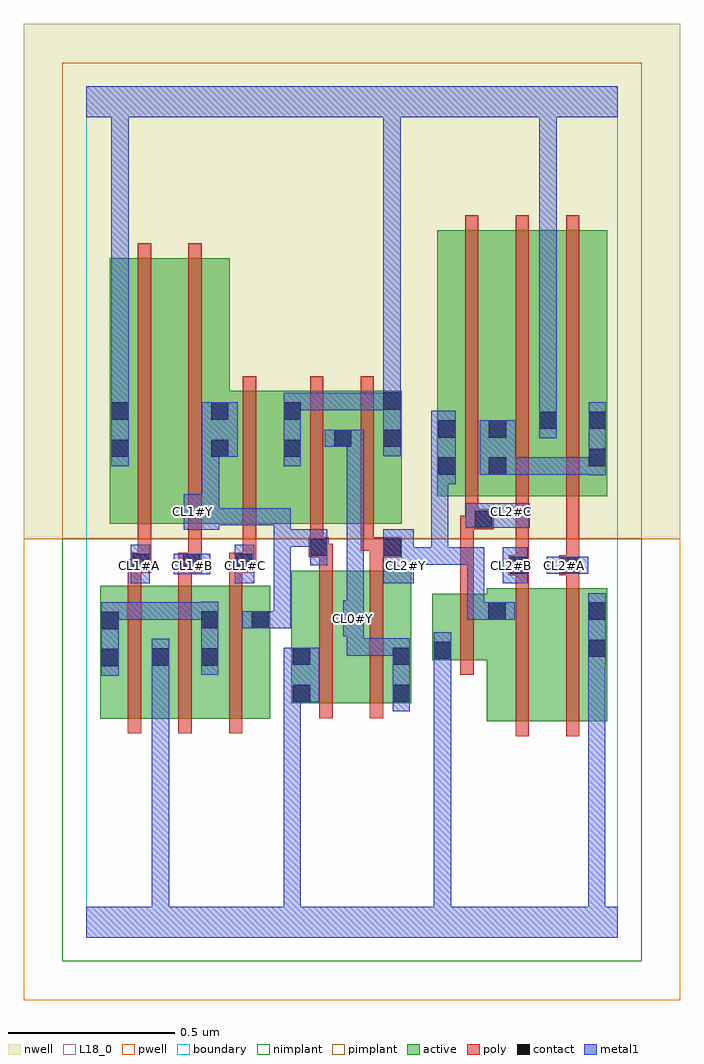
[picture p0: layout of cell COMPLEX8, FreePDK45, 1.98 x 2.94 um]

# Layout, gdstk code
import gdstk
lib = gdstk.Library(unit=1e-6, precision=1e-09)
def R(c, l, rs):  # rectangles x0, y0, x1, y1
    for r in rs: c.add(gdstk.rectangle(r[:2], r[2:], *l))
def A(c, l, x, y, w, h, nx, ny, dx, dy):  # array of equal rectangles
    R(c, l, [(x+i*dx, y+j*dy, x+i*dx+w, y+j*dy+h) for i in range(nx) for j in range(ny)])
active = (1, 0)
pwell = (2, 0)
nwell = (3, 0)
nimplant = (4, 0)
pimplant = (5, 0)
poly = (9, 0)
contact = (10, 0)
metal1 = (11, 0)
L18_0 = (18, 0)
boundary = (235, 0)

complex8 = lib.new_cell('COMPLEX8')
R(complex8, active, [(1.206,0.65,1.388,1.05), (1.206,0.65,1.266,1.012), (1.388,0.65,1.568,1.05), (1.508,0.65,1.568,1.05), (0.042,0.658,0.254,1.058), (0.194,0.658,0.402,1.058), (0.342,0.658,0.554,1.058), (0.494,0.658,0.554,1.058), (0.618,0.704,0.678,1.104), (0.618,0.704,0.798,1.104), (0.798,0.704,0.978,1.104), (0.918,0.704,0.978,1.104), (0.042,0.756,0.102,1.058), (0.194,0.756,0.254,0.874), (0.342,0.756,0.402,0.986), (1.042,0.834,1.266,1.034), (1.042,0.834,1.102,1.034), (0.072,1.244,0.132,2.044), (0.072,1.244,0.252,2.044), (0.252,1.244,0.432,2.044), (0.372,1.244,0.432,2.044), (0.372,1.244,0.65,1.644), (0.59,1.244,0.65,1.644), (0.59,1.244,0.802,1.644), (0.742,1.244,0.802,1.644), (0.742,1.244,0.95,1.644), (0.89,1.244,0.95,1.644), (1.056,1.328,1.268,2.128), (1.056,1.328,1.116,2.044), (1.208,1.328,1.268,2.128), (1.208,1.328,1.42,2.128), (1.36,1.328,1.42,2.128), (1.36,1.328,1.568,2.128), (1.508,1.328,1.568,2.128)])
R(complex8, pwell, [(-0.188,-0.188,1.788,1.2)])
R(complex8, nwell, [(-0.188,1.2,1.788,2.748)])
R(complex8, nimplant, [(-0.072,-0.072,1.672,1.2)])
R(complex8, pimplant, [(-0.072,1.2,1.672,2.632)])
A(complex8, poly, 0.126, 0.614, 0.04, 0.488, 3, 1, 0.152, 0)
A(complex8, poly, 0.126, 1.062, 0.04, 0.076, 3, 1, 0.152, 0)
A(complex8, poly, 1.14, 1.284, 0.04, 0.888, 3, 1, 0.152, 0)
R(complex8, poly, [(1.292,0.606,1.332,1.094), (1.444,0.606,1.484,1.094), (0.702,0.66,0.742,1.148), (0.854,0.66,0.894,1.148), (1.126,0.79,1.166,1.078), (1.126,1.038,1.166,1.268), (1.292,1.054,1.332,1.13), (1.444,1.054,1.484,1.13), (1.272,1.09,1.332,1.15), (1.424,1.09,1.484,1.15), (0.126,1.098,0.176,1.138), (0.136,1.098,0.176,1.138), (0.136,1.098,0.196,1.158), (0.278,1.098,0.348,1.158), (0.43,1.098,0.504,1.158), (0.702,1.108,0.742,1.184), (0.854,1.108,0.894,1.184), (1.292,1.11,1.332,1.324), (1.292,1.11,1.332,1.15), (1.292,1.11,1.332,1.15), (1.444,1.11,1.484,1.324), (1.444,1.11,1.484,1.15), (1.444,1.11,1.484,1.15), (0.156,1.118,0.196,1.24), (0.308,1.118,0.348,1.158), (0.308,1.118,0.348,1.158), (0.308,1.118,0.348,1.24), (0.464,1.118,0.504,1.158), (0.464,1.118,0.512,1.158), (0.472,1.118,0.512,1.24), (0.67,1.144,0.73,1.204), (0.69,1.144,0.73,1.184), (0.69,1.144,0.742,1.184), (0.854,1.144,0.95,1.204), (0.674,1.164,0.714,1.24), (0.826,1.164,0.866,1.24), (0.826,1.164,0.894,1.204), (0.854,1.164,0.894,1.204), (0.156,1.2,0.196,2.088), (0.308,1.2,0.348,2.088), (0.472,1.2,0.512,1.688), (0.674,1.2,0.714,1.688), (0.826,1.2,0.866,1.688), (1.126,1.228,1.18,1.268), (1.14,1.228,1.18,1.268), (1.14,1.228,1.226,1.288), (1.14,1.248,1.18,1.324)])
R(complex8, contact, [(0.622,0.708,0.674,0.76), (0.922,0.708,0.974,0.76), (0.046,0.816,0.098,0.868), (0.198,0.818,0.25,0.87), (0.346,0.818,0.398,0.87), (0.622,0.82,0.674,0.872), (0.922,0.82,0.974,0.872), (1.046,0.838,1.098,0.89), (1.512,0.844,1.564,0.896), (0.046,0.928,0.098,0.98), (0.346,0.93,0.398,0.982), (0.498,0.93,0.55,0.982), (1.21,0.956,1.262,1.008), (1.512,0.956,1.564,1.008), (1.276,1.094,1.328,1.146), (1.428,1.094,1.48,1.146), (0.14,1.102,0.192,1.154), (0.292,1.102,0.344,1.154), (0.448,1.102,0.5,1.154), (0.674,1.148,0.726,1.2), (0.894,1.148,0.946,1.2), (1.17,1.232,1.222,1.284), (1.06,1.392,1.112,1.444), (1.212,1.392,1.264,1.444), (1.512,1.418,1.564,1.47), (0.076,1.446,0.128,1.498), (0.376,1.446,0.428,1.498), (0.594,1.446,0.646,1.498), (0.746,1.476,0.798,1.528), (0.894,1.476,0.946,1.528), (1.06,1.504,1.112,1.556), (1.212,1.504,1.264,1.556), (1.364,1.53,1.416,1.582), (1.512,1.53,1.564,1.582), (0.076,1.558,0.128,1.61), (0.376,1.558,0.428,1.61), (0.594,1.558,0.646,1.61), (0.894,1.588,0.946,1.64)])
R(complex8, metal1, [(0,0,1.6,0.092), (0.198,0.04,0.25,0.092), (0.198,0.04,0.25,0.092), (0.198,0.04,0.25,0.092), (0.198,0.04,0.25,0.092), (0.198,0.04,0.25,0.092), (0.198,0.04,0.25,0.092), (0.198,0.04,0.25,0.092), (0.198,0.04,0.25,0.092), (0.198,0.04,0.25,0.092), (0.198,0.04,0.25,0.092), (0.198,0.04,0.25,0.842), (0.594,0.04,0.646,0.092), (0.594,0.04,0.646,0.092), (0.594,0.04,0.646,0.092), (0.594,0.04,0.646,0.092), (0.594,0.04,0.646,0.092), (0.594,0.04,0.646,0.092), (0.594,0.04,0.646,0.092), (0.594,0.04,0.646,0.092), (0.594,0.04,0.646,0.092), (0.594,0.04,0.646,0.092), (0.594,0.04,0.646,0.76), (1.046,0.04,1.098,0.092), (1.046,0.04,1.098,0.092), (1.046,0.04,1.098,0.092), (1.046,0.04,1.098,0.092), (1.046,0.04,1.098,0.092), (1.046,0.04,1.098,0.092), (1.046,0.04,1.098,0.092), (1.046,0.04,1.098,0.092), (1.046,0.04,1.098,0.092), (1.046,0.04,1.098,0.092), (1.046,0.04,1.098,0.092), (1.046,0.04,1.098,0.092), (1.046,0.04,1.098,0.092), (1.046,0.04,1.098,0.092), (1.046,0.04,1.098,0.092), (1.046,0.04,1.098,0.092), (1.046,0.04,1.098,0.862), (1.51,0.04,1.562,0.092), (1.51,0.04,1.562,0.092), (1.51,0.04,1.562,0.092), (1.51,0.04,1.562,0.092), (1.51,0.04,1.562,0.868), (0.922,0.68,0.974,0.9), (0.594,0.708,0.646,0.76), (0.594,0.708,0.646,0.76), (0.594,0.708,0.702,0.872), (0.046,0.788,0.098,1.008), (0.198,0.79,0.25,0.842), (0.198,0.79,0.25,0.842), (0.198,0.79,0.25,0.898), (0.346,0.79,0.398,1.01), (1.046,0.81,1.098,0.918), (1.51,0.816,1.562,0.868), (1.51,0.816,1.562,0.868), (1.51,0.816,1.562,0.868), (1.51,0.816,1.562,0.868), (1.51,0.816,1.562,0.868), (1.51,0.816,1.562,0.868), (1.51,0.816,1.562,0.868), (1.51,0.816,1.562,0.868), (1.51,0.816,1.564,1.036), (0.784,0.848,0.836,0.9), (0.784,0.848,0.974,0.9), (0.784,0.848,0.836,0.958), (0.922,0.848,0.974,0.9), (0.922,0.848,0.974,0.9), (0.774,0.906,0.836,1.014), (0.47,0.93,0.616,0.982), (0.564,0.93,0.616,1.228), (0.046,0.956,0.098,1.008), (0.046,0.956,0.098,1.008), (0.046,0.956,0.208,1.008), (0.156,0.956,0.208,1.008), (0.156,0.956,0.208,1.008), (0.156,0.956,0.208,1.008), (0.156,0.956,0.398,1.008), (1.146,0.956,1.198,1.174), (1.146,0.956,1.29,1.008), (0.784,0.962,0.836,1.528), (0.134,1.066,0.192,1.182), (0.448,1.066,0.506,1.182), (0.894,1.066,0.986,1.228), (1.254,1.066,1.328,1.174), (0.264,1.092,0.374,1.154), (1.386,1.094,1.51,1.146), (0.674,1.12,0.726,1.228), (0.934,1.122,0.986,1.174), (0.934,1.122,0.986,1.174), (0.934,1.122,1.09,1.174), (1.038,1.122,1.09,1.174), (1.038,1.122,1.09,1.174), (1.038,1.122,1.09,1.174), (1.038,1.122,1.182,1.174), (1.038,1.122,1.09,1.416), (1.13,1.122,1.182,1.174), (1.13,1.122,1.198,1.174), (1.146,1.122,1.198,1.174), (0.564,1.176,0.616,1.228), (0.564,1.176,0.616,1.228), (0.564,1.176,0.616,1.228), (0.564,1.176,0.616,1.228), (0.564,1.176,0.726,1.228), (0.564,1.176,0.616,1.292), (0.294,1.226,0.4,1.334), (1.142,1.232,1.334,1.306), (0.348,1.24,0.4,1.292), (0.348,1.24,0.4,1.292), (0.348,1.24,0.616,1.292), (0.348,1.282,0.4,1.498), (1.038,1.364,1.112,1.584), (1.512,1.39,1.564,1.61), (1.184,1.392,1.292,1.556), (1.24,1.392,1.292,1.444), (1.24,1.392,1.292,1.444), (1.24,1.392,1.452,1.444), (1.4,1.392,1.452,1.444), (1.4,1.392,1.564,1.444), (1.512,1.392,1.564,1.444), (1.512,1.392,1.564,1.444), (0.076,1.418,0.128,1.638), (0.594,1.418,0.646,1.638), (0.348,1.446,0.456,1.61), (0.894,1.448,0.946,1.668), (0.718,1.476,0.836,1.528), (0.784,1.476,0.836,1.528), (0.784,1.476,0.836,1.528), (1.364,1.502,1.416,1.61), (1.364,1.558,1.416,1.61), (1.364,1.558,1.416,1.61), (1.364,1.558,1.416,1.61), (1.364,1.558,1.416,1.61), (1.364,1.558,1.416,1.61), (1.364,1.558,1.416,1.61), (1.364,1.558,1.416,2.52), (0.076,1.586,0.128,1.638), (0.076,1.586,0.128,1.638), (0.076,1.586,0.128,1.638), (0.076,1.586,0.128,1.638), (0.076,1.586,0.128,1.638), (0.076,1.586,0.128,1.638), (0.076,1.586,0.128,2.52), (0.594,1.586,0.756,1.638), (0.704,1.586,0.756,1.638), (0.704,1.586,0.756,1.638), (0.704,1.586,0.756,1.638), (0.704,1.586,0.946,1.638), (0.894,1.586,0.946,1.638), (0.894,1.586,0.946,1.638), (0.894,1.616,0.946,1.668), (0.894,1.616,0.946,1.694), (0.894,1.642,0.946,1.694), (0.894,1.642,0.946,1.694), (0.894,1.642,0.946,1.694), (0.894,1.642,0.946,1.694), (0.894,1.642,0.946,1.694), (0.894,1.642,0.946,1.694), (0.894,1.642,0.946,1.694), (0.894,1.642,0.946,1.694), (0.894,1.642,0.946,2.52), (0,2.468,1.6,2.56), (0.076,2.468,0.128,2.52), (0.076,2.468,0.128,2.52), (0.894,2.468,0.946,2.52), (0.894,2.468,0.946,2.52), (0.894,2.468,0.946,2.52), (0.894,2.468,0.946,2.52), (0.894,2.468,0.946,2.52), (0.894,2.468,0.946,2.52), (1.364,2.468,1.416,2.52), (1.364,2.468,1.416,2.52)])
A(complex8, L18_0, 0.134, 1.094, 0.052, 0.052, 3, 1, 0.16, 0)
R(complex8, L18_0, [(0,0,1.6,0.092), (0.198,0.04,0.25,0.092), (0.198,0.04,0.25,0.092), (0.198,0.04,0.25,0.092), (0.198,0.04,0.25,0.092), (0.198,0.04,0.25,0.092), (0.198,0.04,0.25,0.092), (0.198,0.04,0.25,0.092), (0.198,0.04,0.25,0.092), (0.198,0.04,0.25,0.092), (0.198,0.04,0.25,0.092), (0.198,0.04,0.25,0.842), (0.594,0.04,0.646,0.092), (0.594,0.04,0.646,0.092), (0.594,0.04,0.646,0.092), (0.594,0.04,0.646,0.092), (0.594,0.04,0.646,0.092), (0.594,0.04,0.646,0.092), (0.594,0.04,0.646,0.092), (0.594,0.04,0.646,0.092), (0.594,0.04,0.646,0.092), (0.594,0.04,0.646,0.092), (0.594,0.04,0.646,0.76), (1.046,0.04,1.098,0.092), (1.046,0.04,1.098,0.092), (1.046,0.04,1.098,0.092), (1.046,0.04,1.098,0.092), (1.046,0.04,1.098,0.092), (1.046,0.04,1.098,0.092), (1.046,0.04,1.098,0.092), (1.046,0.04,1.098,0.092), (1.046,0.04,1.098,0.092), (1.046,0.04,1.098,0.092), (1.046,0.04,1.098,0.092), (1.046,0.04,1.098,0.092), (1.046,0.04,1.098,0.092), (1.046,0.04,1.098,0.092), (1.046,0.04,1.098,0.092), (1.046,0.04,1.098,0.092), (1.046,0.04,1.098,0.862), (1.51,0.04,1.562,0.092), (1.51,0.04,1.562,0.092), (1.51,0.04,1.562,0.092), (1.51,0.04,1.562,0.092), (1.51,0.04,1.562,0.868), (0.922,0.68,0.974,0.9), (0.594,0.708,0.646,0.76), (0.594,0.708,0.646,0.76), (0.594,0.708,0.702,0.872), (0.198,0.79,0.25,0.842), (0.198,0.79,0.25,0.842), (0.198,0.79,0.25,0.898), (1.046,0.81,1.098,0.918), (1.51,0.816,1.562,0.868), (1.51,0.816,1.562,0.868), (1.51,0.816,1.562,0.868), (1.51,0.816,1.562,0.868), (1.51,0.816,1.562,0.868), (1.51,0.816,1.562,0.868), (1.51,0.816,1.562,0.868), (1.51,0.816,1.562,0.868), (1.51,0.816,1.564,1.036), (0.784,0.848,0.836,0.9), (0.784,0.848,0.836,0.958), (0.784,0.848,0.974,0.9), (0.922,0.848,0.974,0.9), (0.922,0.848,0.974,0.9), (0.774,0.906,0.836,1.014), (0.47,0.93,0.616,0.982), (0.564,0.93,0.616,1.228), (0.774,0.934,0.826,0.986), (1.146,0.956,1.29,1.008), (1.146,0.956,1.198,1.174), (0.784,0.962,0.836,1.528), (0.134,1.066,0.192,1.182), (0.448,1.066,0.506,1.182), (0.894,1.066,0.986,1.228), (1.254,1.066,1.328,1.174), (0.264,1.092,0.374,1.154), (0.934,1.094,0.986,1.146), (1.254,1.094,1.306,1.146), (1.386,1.094,1.51,1.146), (1.414,1.094,1.466,1.146), (0.674,1.12,0.726,1.228), (0.934,1.122,0.986,1.174), (0.934,1.122,0.986,1.174), (0.934,1.122,1.09,1.174), (1.038,1.122,1.09,1.174), (1.038,1.122,1.09,1.174), (1.038,1.122,1.09,1.174), (1.038,1.122,1.09,1.416), (1.038,1.122,1.182,1.174), (1.13,1.122,1.182,1.174), (1.13,1.122,1.198,1.174), (1.146,1.122,1.198,1.174), (0.564,1.176,0.616,1.228), (0.564,1.176,0.616,1.228), (0.564,1.176,0.616,1.228), (0.564,1.176,0.616,1.228), (0.564,1.176,0.616,1.292), (0.564,1.176,0.726,1.228), (0.294,1.226,0.4,1.334), (1.142,1.232,1.334,1.306), (0.348,1.24,0.4,1.292), (0.348,1.24,0.4,1.292), (0.348,1.24,0.616,1.292), (0.294,1.254,0.346,1.306), (1.254,1.254,1.306,1.306), (0.348,1.282,0.4,1.498), (1.038,1.364,1.112,1.584), (0.076,1.418,0.128,1.638), (0.594,1.418,0.646,1.638), (0.348,1.446,0.456,1.61), (0.894,1.448,0.946,1.668), (0.718,1.476,0.836,1.528), (0.784,1.476,0.836,1.528), (0.784,1.476,0.836,1.528), (1.364,1.502,1.416,1.61), (1.364,1.558,1.416,1.61), (1.364,1.558,1.416,1.61), (1.364,1.558,1.416,1.61), (1.364,1.558,1.416,1.61), (1.364,1.558,1.416,1.61), (1.364,1.558,1.416,1.61), (1.364,1.558,1.416,2.52), (0.076,1.586,0.128,1.638), (0.076,1.586,0.128,1.638), (0.076,1.586,0.128,1.638), (0.076,1.586,0.128,1.638), (0.076,1.586,0.128,1.638), (0.076,1.586,0.128,1.638), (0.076,1.586,0.128,2.52), (0.594,1.586,0.756,1.638), (0.704,1.586,0.756,1.638), (0.704,1.586,0.756,1.638), (0.704,1.586,0.756,1.638), (0.704,1.586,0.946,1.638), (0.894,1.586,0.946,1.638), (0.894,1.586,0.946,1.638), (0.894,1.616,0.946,1.668), (0.894,1.616,0.946,1.694), (0.894,1.642,0.946,1.694), (0.894,1.642,0.946,1.694), (0.894,1.642,0.946,1.694), (0.894,1.642,0.946,1.694), (0.894,1.642,0.946,1.694), (0.894,1.642,0.946,1.694), (0.894,1.642,0.946,1.694), (0.894,1.642,0.946,1.694), (0.894,1.642,0.946,2.52), (0,2.468,1.6,2.56), (0.076,2.468,0.128,2.52), (0.076,2.468,0.128,2.52), (0.894,2.468,0.946,2.52), (0.894,2.468,0.946,2.52), (0.894,2.468,0.946,2.52), (0.894,2.468,0.946,2.52), (0.894,2.468,0.946,2.52), (0.894,2.468,0.946,2.52), (1.364,2.468,1.416,2.52), (1.364,2.468,1.416,2.52)])
R(complex8, boundary, [(0,0,1.6,2.56)])
complex8.add(gdstk.Label('CL0#Y', (0.8,0.96), layer=11, texttype=0))
complex8.add(gdstk.Label('CL1#A', (0.16,1.12), layer=11, texttype=0))
complex8.add(gdstk.Label('CL1#B', (0.32,1.12), layer=11, texttype=0))
complex8.add(gdstk.Label('CL1#C', (0.48,1.12), layer=11, texttype=0))
complex8.add(gdstk.Label('CL1#Y', (0.32,1.28), layer=11, texttype=0))
complex8.add(gdstk.Label('CL2#A', (1.44,1.12), layer=11, texttype=0))
complex8.add(gdstk.Label('CL2#B', (1.28,1.12), layer=11, texttype=0))
complex8.add(gdstk.Label('CL2#C', (1.28,1.28), layer=11, texttype=0))
complex8.add(gdstk.Label('CL2#Y', (0.96,1.12), layer=11, texttype=0))

lib.write_gds('COMPLEX8.gds')
